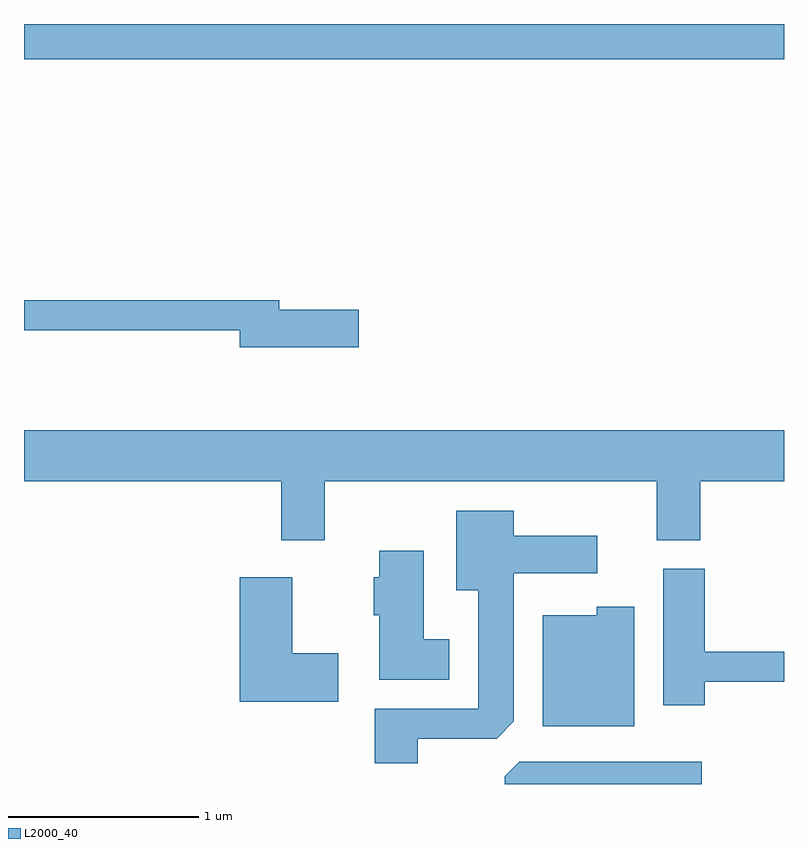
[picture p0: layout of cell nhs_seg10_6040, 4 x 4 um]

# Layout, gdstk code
import gdstk
lib = gdstk.Library(unit=1e-6, precision=1e-09)
def R(c, l, rs):  # rectangles x0, y0, x1, y1
    for r in rs: c.add(gdstk.rectangle(r[:2], r[2:], *l))
def P(c, l, *ps):  # polygons
    for p in ps: c.add(gdstk.Polygon(p, *l))
L2000_40 = (2000, 40)

nhs_seg10_6040 = lib.new_cell('nhs_seg10_6040')
R(nhs_seg10_6040, L2000_40, [(363.611,2138.336,367.611,2138.522)])
P(nhs_seg10_6040, L2000_40, [(365.374,2137.019),(364.954,2137.019),(364.954,2137.069),(363.611,2137.069),(363.611,2136.911),(364.746,2136.911),(364.746,2136.821),(365.374,2136.821)],
  [(365.194,2136.116),(366.941,2136.116),(366.941,2135.806),(367.169,2135.806),(367.169,2136.116),(367.611,2136.116),(367.611,2136.384),(363.611,2136.384),(363.611,2136.116),(364.966,2136.116),(364.966,2135.806),(365.194,2135.806)],
  [(365.684,2134.761),(366.099,2134.761),(366.189,2134.852),(366.189,2135.631),(366.629,2135.631),(366.629,2135.829),(366.189,2135.829),(366.189,2135.959),(365.886,2135.959),(365.886,2135.541),(366.001,2135.541),(366.001,2134.919),(365.456,2134.919),(365.456,2134.631),(365.684,2134.631)],
  [(365.849,2135.284),(365.714,2135.284),(365.714,2135.749),(365.481,2135.749),(365.481,2135.609),(365.451,2135.609),(365.451,2135.411),(365.481,2135.411),(365.481,2135.071),(365.849,2135.071)],
  [(367.194,2135.061),(367.611,2135.061),(367.611,2135.219),(367.194,2135.219),(367.194,2135.654),(366.976,2135.654),(366.976,2134.936),(367.194,2134.936)],
  [(365.264,2135.209),(365.024,2135.209),(365.024,2135.609),(364.746,2135.609),(364.746,2134.956),(365.264,2134.956)],
  [(366.824,2135.454),(366.626,2135.454),(366.626,2135.409),(366.341,2135.409),(366.341,2134.826),(366.824,2134.826)],
  [(367.178,2134.639),(366.217,2134.639),(366.141,2134.564),(366.141,2134.522),(367.178,2134.522)])

lib.write_gds('nhs_seg10_6040.gds')
